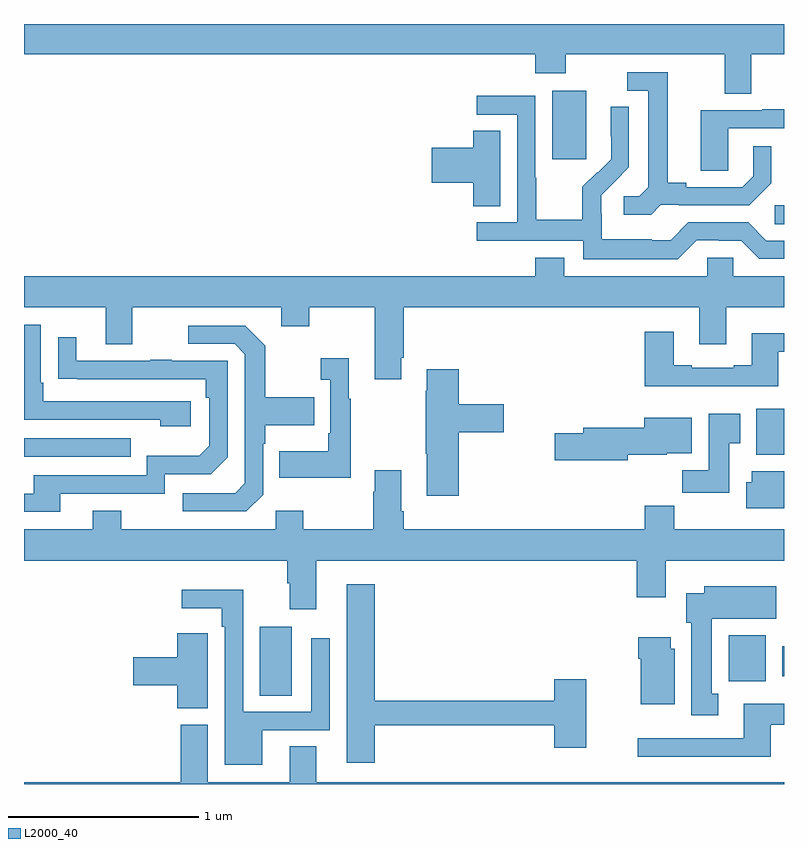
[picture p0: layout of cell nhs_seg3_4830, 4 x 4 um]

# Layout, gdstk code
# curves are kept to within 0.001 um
import gdstk
lib = gdstk.Library(unit=1e-6, precision=1e-09)
def R(c, l, rs):  # rectangles x0, y0, x1, y1
    for r in rs: c.add(gdstk.rectangle(r[:2], r[2:], *l))
def P(c, l, *ps):  # polygons
    for p in ps: c.add(gdstk.Polygon(p, *l))
L2000_40 = (2000, 40)

nhs_seg3_4830 = lib.new_cell('nhs_seg3_4830')
R(nhs_seg3_4830, L2000_40, [(372.242,706.864,372.409,707.227), (374.708,706.94,374.905,707.182), (374.99,706.968,375,707.124), (371,708.123,371.561,708.219), (374.855,708.134,375,708.376), (374.952,709.345,375,709.446), (373.781,709.689,373.96,710.05)])
P(nhs_seg3_4830, L2000_40, [(374.827,710.24),(375,710.24),(375,710.4),(371,710.4),(371,710.24),(373.691,710.24),(373.691,710.141),(373.851,710.141),(373.851,710.24),(374.687,710.24),(374.687,710.032),(374.827,710.032)],
  [(374.352,709.449),(374.446,709.449),(374.446,709.446),(374.818,709.446),(374.934,709.562),(374.934,709.756),(374.837,709.756),(374.837,709.599),(374.78,709.542),(374.485,709.542),(374.485,709.565),(374.389,709.565),(374.389,710.145),(374.175,710.145),(374.175,710.049),(374.285,710.049),(374.285,709.541),(374.238,709.494),(374.157,709.494),(374.157,709.397),(374.3,709.397)],
  [(374.541,709.263),(374.657,709.263),(374.657,709.26),(374.775,709.26),(374.871,709.164),(375,709.164),(375,709.26),(374.907,709.26),(374.811,709.356),(374.496,709.356),(374.403,709.263),(374.303,709.263),(374.303,709.267),(374.04,709.267),(374.04,709.401),(374.038,709.401),(374.038,709.498),(374.184,709.646),(374.184,709.964),(374.088,709.964),(374.088,709.81),(374.09,709.81),(374.09,709.688),(374.019,709.617),(374.016,709.62),(373.939,709.543),(373.939,709.369),(373.695,709.369),(373.695,709.592),(373.692,709.592),(373.692,710.022),(373.383,710.022),(373.383,709.923),(373.596,709.923),(373.596,709.356),(373.383,709.356),(373.383,709.26),(373.944,709.26),(373.944,709.163),(374.441,709.163)],
  [(374.706,709.851),(375,709.851),(375,709.951),(374.885,709.951),(374.885,709.947),(374.561,709.947),(374.561,709.627),(374.706,709.627)],
  [(373.507,709.838),(373.364,709.838),(373.364,709.748),(373.146,709.748),(373.146,709.565),(373.364,709.565),(373.364,709.441),(373.507,709.441)],
  [(371,708.908),(371.429,708.908),(371.429,708.714),(371.569,708.714),(371.569,708.908),(372.353,708.908),(372.353,708.809),(372.501,708.809),(372.501,708.908),(372.845,708.908),(372.845,708.531),(372.985,708.531),(372.985,708.643),(372.998,708.643),(372.998,708.908),(374.555,708.908),(374.555,708.714),(374.695,708.714),(374.695,708.908),(375,708.908),(375,709.072),(374.733,709.072),(374.733,709.17),(374.595,709.17),(374.595,709.072),(373.843,709.072),(373.843,709.171),(373.691,709.171),(373.691,709.072),(371,709.072)],
  [(371.878,708.414),(371.101,708.414),(371.101,708.511),(371.088,708.511),(371.088,708.816),(371,708.816),(371,708.318),(371.717,708.318),(371.717,708.284),(371.878,708.284)],
  [(372.258,707.922),(372.258,708.191),(372.271,708.191),(372.271,708.287),(372.527,708.287),(372.527,708.435),(372.271,708.435),(372.271,708.707),(372.165,708.813),(371.865,708.813),(371.865,708.717),(372.108,708.717),(372.162,708.663),(372.162,707.982),(372.111,707.931),(371.835,707.931),(371.835,707.835),(372.171,707.835)],
  [(374.971,708.675),(375,708.675),(375,708.772),(374.831,708.772),(374.831,708.604),(374.735,708.604),(374.735,708.591),(374.515,708.591),(374.515,708.604),(374.419,708.604),(374.419,708.781),(374.267,708.781),(374.267,708.494),(374.971,708.494)],
  [(371.191,707.928),(371.742,707.928),(371.742,708.03),(371.982,708.03),(372.072,708.12),(372.072,708.627),(371.777,708.627),(371.777,708.632),(371.665,708.632),(371.665,708.627),(371.275,708.627),(371.275,708.751),(371.179,708.751),(371.179,708.532),(371.956,708.531),(371.956,708.434),(371.976,708.434),(371.976,708.18),(371.923,708.127),(371.646,708.127),(371.646,708.024),(371.051,708.024),(371.051,707.928),(371,707.928),(371,707.832),(371.191,707.832)],
  [(372.721,708.427),(372.709,708.427),(372.709,708.64),(372.561,708.64),(372.561,708.527),(372.612,708.527),(372.612,708.247),(372.6,708.247),(372.6,708.151),(372.343,708.151),(372.343,708.011),(372.721,708.011)],
  [(373.289,708.251),(373.525,708.251),(373.525,708.398),(373.289,708.398),(373.289,708.583),(373.121,708.583),(373.121,708.47),(373.114,708.47),(373.114,708.139),(373.121,708.139),(373.121,707.916),(373.289,707.916)],
  [(374.713,708.193),(374.77,708.193),(374.77,708.349),(374.603,708.349),(374.603,708.052),(374.464,708.052),(374.464,707.934),(374.713,707.934)],
  [(374.178,708.134),(374.382,708.134),(374.382,708.14),(374.515,708.14),(374.515,708.328),(374.264,708.328),(374.264,708.275),(373.943,708.275),(373.943,708.245),(373.794,708.245),(373.794,708.103),(374.178,708.103)],
  [(374.377,707.576),(375,707.576),(375,707.74),(374.423,707.74),(374.423,707.864),(374.267,707.864),(374.267,707.74),(372.998,707.74),(372.998,707.836),(372.985,707.836),(372.985,708.052),(372.845,708.052),(372.845,707.939),(372.838,707.939),(372.838,707.74),(372.471,707.74),(372.471,707.839),(372.324,707.839),(372.324,707.74),(371.511,707.74),(371.511,707.839),(371.363,707.839),(371.363,707.74),(371,707.74),(371,707.576),(372.386,707.576),(372.386,707.456),(372.398,707.456),(372.398,707.319),(372.538,707.319),(372.538,707.576),(374.225,707.576),(374.225,707.382),(374.377,707.382)],
  [(375,708.046),(374.831,708.046),(374.831,707.987),(374.801,707.987),(374.801,707.852),(375,707.852)],
  [(372.845,706.71),(373.79,706.71),(373.79,706.59),(373.96,706.59),(373.96,706.951),(373.79,706.951),(373.79,706.838),(372.845,706.838),(372.845,707.452),(372.698,707.452),(372.698,706.512),(372.845,706.512)],
  [(374.653,706.874),(374.62,706.874),(374.62,707.27),(374.959,707.27),(374.959,707.44),(374.579,707.44),(374.579,707.404),(374.486,707.404),(374.486,707.25),(374.513,707.25),(374.513,706.761),(374.653,706.761)],
  [(372.253,706.683),(372.609,706.683),(372.609,707.167),(372.513,707.167),(372.513,706.779),(372.153,706.779),(372.153,707.422),(371.829,707.422),(371.829,707.324),(372.041,707.324),(372.041,707.228),(372.057,707.228),(372.057,706.502),(372.253,706.502)],
  [(371.968,707.081),(371.967,707.081),(371.967,707.194),(371.807,707.194),(371.807,707.066),(371.574,707.066),(371.574,706.919),(371.807,706.919),(371.807,706.798),(371.968,706.798)],
  [(374.425,707.112),(374.404,707.112),(374.404,707.173),(374.234,707.173),(374.234,707.06),(374.246,707.06),(374.246,706.82),(374.425,706.82)],
  [(374.929,706.713),(375,706.713),(375,706.822),(374.789,706.822),(374.789,706.641),(374.229,706.641),(374.229,706.544),(374.929,706.544)],
  [(371.825,706.713),(371.825,706.408),(371,706.408),(371,706.4),(375,706.4),(375,706.408),(372.538,706.408),(372.538,706.598),(372.398,706.598),(372.398,706.408),(371.968,706.408),(371.968,706.713)])

lib.write_gds('nhs_seg3_4830.gds')
